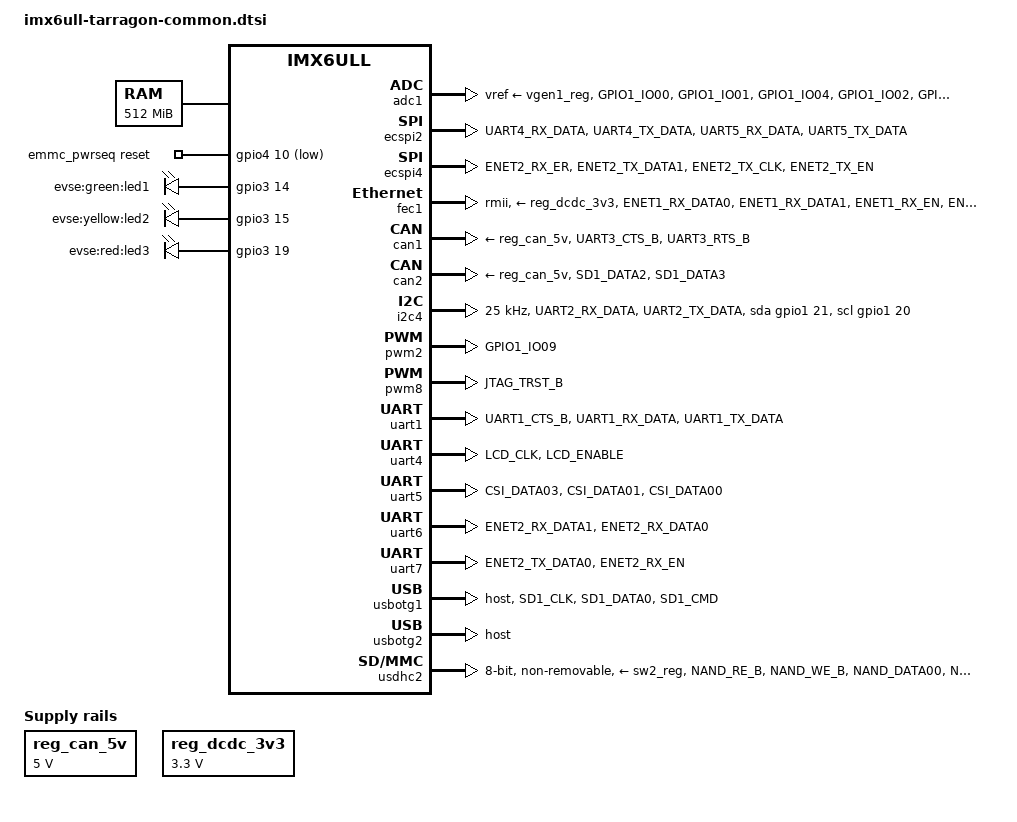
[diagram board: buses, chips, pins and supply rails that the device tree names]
/*
 * Copyright (C) 2018 I2SE GmbH
 * Copyright (C) 2020 in-tech smart charging GmbH
 *
 * This program is free software; you can redistribute it and/or modify
 * it under the terms of the GNU General Public License version 2 as
 * published by the Free Software Foundation.
 */

/dts-v1/;

#include <dt-bindings/input/input.h>
#include <dt-bindings/pwm/pwm.h>
#include "imx6ull.dtsi"

/ {
	aliases {
		mmc0 = &usdhc2;
	};

	chosen {
		stdout-path = &uart4;
	};

	memory@80000000 {
		device_type = "memory";
		reg = <0x80000000 0x20000000>;
	};

	reserved-memory {
		#address-cells = <1>;
		#size-cells = <1>;
		ranges;

		linux,cma {
			compatible = "shared-dma-pool";
			reusable;
			size = <0x14000000>;
			linux,cma-default;
		};
	};

	emmc_pwrseq: emmc-pwrseq {
		compatible = "mmc-pwrseq-emmc";
		pinctrl-0 = <&pinctrl_emmc_rst>;
		pinctrl-names = "default";
		reset-gpios = <&gpio4 10 GPIO_ACTIVE_LOW>;
	};

	reg_can_5v: regulator-can-5v {
		compatible = "regulator-fixed";
		regulator-name = "can-5v";
		regulator-min-microvolt = <5000000>;
		regulator-max-microvolt = <5000000>;
		regulator-boot-on;
		regulator-always-on;
	};

	reg_dcdc_3v3: regulator-dcdc-3v3 {
		compatible = "regulator-fixed";
		regulator-name = "dcdc-3v3";
		regulator-min-microvolt = <3300000>;
		regulator-max-microvolt = <3300000>;
		regulator-boot-on;
		regulator-always-on;
	};

	leds {
		compatible = "gpio-leds";
		pinctrl-names = "default";
		pinctrl-0 = <&pinctrl_status_leds>;

		led1 {
			label = "evse:green:led1";
			gpios = <&gpio3 14 GPIO_ACTIVE_HIGH>;
			linux,default-trigger = "timer";
		};

		led2 {
			label = "evse:yellow:led2";
			gpios = <&gpio3 15 GPIO_ACTIVE_HIGH>;
		};

		led3 {
			label = "evse:red:led3";
			gpios = <&gpio3 19 GPIO_ACTIVE_HIGH>;
			linux,default-trigger = "heartbeat";
		};
	};
};

&adc1 {
	pinctrl-names = "default";
	pinctrl-0 = <&pinctrl_adc_motor &pinctrl_adc_cp &pinctrl_adc_pp>;
	vref-supply = <&vgen1_reg>;
	num-channels = <6>;
};

&cpu0 {
	/*
	 * on i.MX6ULL, no seperated VDD_ARM_IN and VDD_SOC_IN,
	 * to align with other platform and use the same cpufreq
	 * driver, still use the seperated OPP define for arm
	 * and soc.
	 */
	operating-points = <
		/* kHz	uV */
		792000	1225000
		528000	1175000
		396000	1175000
		198000	1175000
	>;
	fsl,soc-operating-points = <
		/* KHz	uV */
		792000	1175000
		528000	1175000
		396000	1175000
		198000	1175000
	>;
	arm-supply = <&sw1_reg>;
	soc-supply = <&sw1_reg>;
	fsl,arm-soc-shared = <1>;
};

&ecspi2 {
	#address-cells = <1>;
	#size-cells = <0>;
	pinctrl-names = "default";
	pinctrl-0 = <&pinctrl_qca7000_cp_spi>;
	fsl,spi-num-chipselects = <1>;
	cs-gpios = <&gpio1 29 0>;
};

&ecspi4 {
	#address-cells = <1>;
	#size-cells = <0>;
	pinctrl-names = "default";
	pinctrl-0 = <&pinctrl_qca7000_mains_spi>;
	fsl,spi-num-chipselects = <1>;
	cs-gpios = <&gpio2 15 0>;
};

&fec1 {
	pinctrl-names = "default";
	pinctrl-0 = <&pinctrl_enet1 &pinctrl_enet1_phy_rst &pinctrl_enet_mdio>;
	phy-supply = <&reg_dcdc_3v3>;
	phy-mode = "rmii";
	phy-reset-gpios = <&gpio5 6 GPIO_ACTIVE_LOW>;
	phy-reset-duration = <25>;
};

&can1 {
	pinctrl-names = "default";
	pinctrl-0 = <&pinctrl_flexcan1>;
	xceiver-supply = <&reg_can_5v>;
};

&can2 {
	pinctrl-names = "default";
	pinctrl-0 = <&pinctrl_flexcan2>;
	xceiver-supply = <&reg_can_5v>;
};

&gpc {
	fsl,cpu_pupscr_sw2iso = <0x1>;
	fsl,cpu_pupscr_sw = <0x0>;
	fsl,cpu_pdnscr_iso2sw = <0x1>;
	fsl,cpu_pdnscr_iso = <0x1>;
	fsl,ldo-bypass = <0>;
};

&i2c4 {
	clock-frequency = <25000>;
	pinctrl-names = "default", "gpio";
	pinctrl-0 = <&pinctrl_i2c4>;
	pinctrl-1 = <&pinctrl_i2c4_gpio>;
	scl-gpios = <&gpio1 20 GPIO_ACTIVE_HIGH>;
	sda-gpios = <&gpio1 21 GPIO_ACTIVE_HIGH>;
	status = "okay";
};

&iomuxc {
	pinctrl-names = "default";
	pinctrl-0 = <&pinctrl_hog_pins &pinctrl_gpio_motor &pinctrl_board_var &pinctrl_push_pull_cfg
	             &pinctrl_rotary_switch1 &pinctrl_rotary_switch2>;

	tarragon {
		pinctrl_status_leds: pinctrl_status_ledsGrp {
			fsl,pins = <
				MX6UL_PAD_LCD_DATA09__GPIO3_IO14            0x17059
				MX6UL_PAD_LCD_DATA10__GPIO3_IO15            0x17059
				MX6UL_PAD_LCD_DATA14__GPIO3_IO19            0x17059
			>;
		};

		pinctrl_adc_motor: pinctrl_adc_motorGrp {
			fsl,pins = <
				MX6UL_PAD_GPIO1_IO00__GPIO1_IO00            0x000b0 /* ADC1_IN0  */
				MX6UL_PAD_GPIO1_IO01__GPIO1_IO01            0x000b0 /* ADC1_IN1  */
				MX6UL_PAD_GPIO1_IO04__GPIO1_IO04            0x000b0 /* ADC1_IN4  */
			>;
		};

		pinctrl_gpio_motor: pinctrl_gpio_motorGrp {
			fsl,pins = <
				MX6UL_PAD_LCD_DATA02__GPIO3_IO07            0x40017059
				MX6UL_PAD_LCD_DATA03__GPIO3_IO08            0x40017059
				MX6UL_PAD_LCD_DATA04__GPIO3_IO09            0x40017059
				// EN_MOTOR_CAP_CHARGING removed MX6UL_PAD_LCD_DATA06__GPIO3_IO11	0x40017059
				MX6UL_PAD_UART1_RTS_B__GPIO1_IO19           0x17059
				MX6UL_PAD_UART3_RX_DATA__GPIO1_IO25         0x17059
			>;
		};

		pinctrl_adc_cp: pinctrl_adc_cpGrp {
			fsl,pins = <
				MX6UL_PAD_GPIO1_IO02__GPIO1_IO02            0x000b0 /* ADC1_IN2  */
				MX6UL_PAD_GPIO1_IO03__GPIO1_IO03            0x000b0 /* ADC1_IN3  */
			>;
		};

		pinctrl_adc_pp: pinctrl_adc_ppGrp {
			fsl,pins = <
				MX6UL_PAD_GPIO1_IO05__GPIO1_IO05            0x000b0 /* ADC1_IN5  */
			>;
		};

		pinctrl_usb_pwr: pinctrl_usb_pwrGrp {
			fsl,pins = <
				MX6UL_PAD_SD1_CMD__USB_OTG1_PWR             0x10b0
			>;
		};

		pinctrl_usb: pinctrl_usbGrp {
			fsl,pins = <
				MX6UL_PAD_SD1_CLK__USB_OTG1_OC              0x17059
				MX6UL_PAD_SD1_DATA0__ANATOP_OTG1_ID         0x17059
			>;
		};

		pinctrl_enet_mdio: pinctrl_enet_mdioGrp {
			fsl,pins = <
				MX6UL_PAD_GPIO1_IO06__ENET1_MDIO            0x10b0
				MX6UL_PAD_GPIO1_IO07__ENET1_MDC             0x10b0
			>;
		};

		pinctrl_enet1_phy_int: pinctrl_enet1_phy_intGrp {
			fsl,pins = <
				MX6UL_PAD_ENET1_RX_ER__GPIO2_IO07           0x10b0
			>;
		};

		pinctrl_enet1: pinctrl_enet1Grp {
			fsl,pins = <
				MX6UL_PAD_ENET1_RX_DATA0__ENET1_RDATA00     0x1b0b0
				MX6UL_PAD_ENET1_RX_DATA1__ENET1_RDATA01     0x1b0b0
				MX6UL_PAD_ENET1_RX_EN__ENET1_RX_EN          0x1b0b0
				MX6UL_PAD_ENET1_TX_CLK__ENET1_REF_CLK1      0x4001b031
				MX6UL_PAD_ENET1_TX_DATA0__ENET1_TDATA00     0x1b0b0
				MX6UL_PAD_ENET1_TX_DATA1__ENET1_TDATA01     0x1b0b0
				MX6UL_PAD_ENET1_TX_EN__ENET1_TX_EN          0x1b0b0
			>;
		};

		pinctrl_pwm_dig_in_ref: pinctrl_pwm_dig_in_refGrp {
			fsl,pins = <
				MX6UL_PAD_GPIO1_IO09__PWM2_OUT              0x110b0
			>;
		};

		pinctrl_pwm_fan: pinctrl_pwm_fanGrp {
			fsl,pins = <
				MX6UL_PAD_JTAG_TCK__PWM7_OUT                0x110b0
			>;
		};

		pinctrl_pwm_cp: pinctrl_pwm_cpGrp {
			fsl,pins = <
				MX6UL_PAD_JTAG_TRST_B__PWM8_OUT             0x110b0
			>;
		};

		pinctrl_rs485_1: pinctrl_rs485_1Grp {
			fsl,pins = <
				MX6UL_PAD_UART1_CTS_B__GPIO1_IO18           0x10b0
				MX6UL_PAD_UART1_RX_DATA__UART1_DCE_RX       0x10b0
				MX6UL_PAD_UART1_TX_DATA__UART1_DCE_TX       0x10b0
			>;
		};

		pinctrl_rs485_2: pinctrl_rs485_2Grp {
			fsl,pins = <
				MX6UL_PAD_CSI_DATA03__GPIO4_IO24            0x10b0
				MX6UL_PAD_CSI_DATA01__UART5_DCE_RX          0x10b0
				MX6UL_PAD_CSI_DATA00__UART5_DCE_TX          0x10b0
			>;
		};

		pinctrl_stm32: pinctrl_stm32_Grp {
			fsl,pins = <
				MX6UL_PAD_ENET2_RX_DATA1__UART6_DCE_RX      0x10b0
				MX6UL_PAD_ENET2_RX_DATA0__UART6_DCE_TX      0x10b0
			>;
		};

		pinctrl_ext_uart: pinctrl_ext_uart_Grp {
			fsl,pins = <
				MX6UL_PAD_ENET2_TX_DATA0__UART7_DCE_RX      0x10b0
				MX6UL_PAD_ENET2_RX_EN__UART7_DCE_TX         0x10b0
			>;
		};

		pinctrl_flexcan1: pinctrl_flexcan1Grp {
			fsl,pins = <
				MX6UL_PAD_UART3_CTS_B__FLEXCAN1_TX          0x1b020
				MX6UL_PAD_UART3_RTS_B__FLEXCAN1_RX          0x1b020
			>;
		};

		pinctrl_flexcan2: pinctrl_flexcan2Grp {
			fsl,pins = <
				MX6UL_PAD_SD1_DATA2__FLEXCAN2_TX            0x1b020
				MX6UL_PAD_SD1_DATA3__FLEXCAN2_RX            0x1b020
			>;
		};

		pinctrl_i2c4: pinctrl_i2c4Grp {
			fsl,pins = <
				MX6UL_PAD_UART2_RX_DATA__I2C4_SDA           0x4001b8b0
				MX6UL_PAD_UART2_TX_DATA__I2C4_SCL           0x4001b8b0
			>;
		};

		pinctrl_i2c4_gpio: pinctrl_i2c4_gpioGrp {
			fsl,pins = <
				MX6UL_PAD_UART2_RX_DATA__GPIO1_IO21         0x4001b8b0
				MX6UL_PAD_UART2_TX_DATA__GPIO1_IO20         0x4001b8b0
			>;
		};

		pinctrl_qca7000_cp_spi: pinctrl_qca7000_cp_spiGrp {
			fsl,pins = <
				MX6UL_PAD_UART4_RX_DATA__GPIO1_IO29         0x10b0
				MX6UL_PAD_UART4_TX_DATA__ECSPI2_SCLK        0x10b0
				MX6UL_PAD_UART5_RX_DATA__ECSPI2_MISO        0x10b0
				MX6UL_PAD_UART5_TX_DATA__ECSPI2_MOSI        0x10b0
			>;
		};

		pinctrl_qca7000_cp_int: pinctrl_qca7000_cp_intGrp {
			fsl,pins = <
				MX6UL_PAD_SD1_DATA1__GPIO2_IO19             0x10b0
			>;
		};

		pinctrl_qca7000_cp_rst: pinctrl_qca7000_cp_rstGrp {
			fsl,pins = <
				MX6UL_PAD_LCD_DATA12__GPIO3_IO17            0x400010b0
			>;
		};

		pinctrl_qca7000_cp_btld: pinctrl_qca7000_cp_btldGrp {
			fsl,pins = <
				MX6UL_PAD_LCD_DATA13__GPIO3_IO18            0x400010b0
			>;
		};

		pinctrl_qca7000_mains_spi: pinctrl_qca7000_mains_spiGrp {
			fsl,pins = <
				MX6UL_PAD_ENET2_RX_ER__GPIO2_IO15           0x10b0
				MX6UL_PAD_ENET2_TX_DATA1__ECSPI4_SCLK       0x10b0
				MX6UL_PAD_ENET2_TX_CLK__ECSPI4_MISO         0x10b0
				MX6UL_PAD_ENET2_TX_EN__ECSPI4_MOSI          0x10b0
			>;
		};

		pinctrl_qca7000_mains_btld: pinctrl_qca7000_mains_btldGrp {
			fsl,pins = <
				MX6UL_PAD_LCD_DATA11__GPIO3_IO16            0x400010b0
			>;
		};

		pinctrl_uart4: pinctrl_uart4Grp {
			fsl,pins = <
				MX6UL_PAD_LCD_CLK__UART4_DTE_RX             0x1b0b1
				MX6UL_PAD_LCD_ENABLE__UART4_DTE_TX          0x1b0b1
			>;
		};

		pinctrl_dig_in: pinctrl_dig_inGrp {
			fsl,pins = <
				MX6UL_PAD_CSI_DATA04__GPIO4_IO25            0x0
				MX6UL_PAD_CSI_DATA05__GPIO4_IO26            0x0
				MX6UL_PAD_CSI_DATA07__GPIO4_IO28            0x0
				MX6UL_PAD_CSI_DATA06__GPIO4_IO27            0x0
				MX6UL_PAD_CSI_HSYNC__GPIO4_IO20             0x0
				MX6UL_PAD_CSI_DATA02__GPIO4_IO23            0x0
			>;
		};

		pinctrl_board_var: pinctrl_board_varGrp {
			fsl,pins = <
				MX6UL_PAD_NAND_CLE__GPIO4_IO15              0x0
				MX6UL_PAD_NAND_CE0_B__GPIO4_IO13            0x0
				MX6UL_PAD_NAND_CE1_B__GPIO4_IO14            0x0
				MX6UL_PAD_NAND_DQS__GPIO4_IO16              0x0
			>;
		};

		pinctrl_push_pull_cfg: pinctrl_push_pull_cfgGrp {
			fsl,pins = <
				MX6UL_PAD_LCD_DATA15__GPIO3_IO20            0x400000b0
				MX6UL_PAD_LCD_DATA16__GPIO3_IO21            0x400000b0
				MX6UL_PAD_LCD_DATA17__GPIO3_IO22            0x400000b0
				MX6UL_PAD_LCD_DATA18__GPIO3_IO23            0x400000b0
				MX6UL_PAD_LCD_DATA19__GPIO3_IO24            0x400000b0
				MX6UL_PAD_LCD_DATA20__GPIO3_IO25            0x400000b0
			>;
		};

		pinctrl_usdhc2_8bit: pinctrl_usdhc2_8bitGrp {
			fsl,pins = <
				MX6UL_PAD_NAND_RE_B__USDHC2_CLK             0x10069
				MX6UL_PAD_NAND_WE_B__USDHC2_CMD             0x17059
				MX6UL_PAD_NAND_DATA00__USDHC2_DATA0         0x17059
				MX6UL_PAD_NAND_DATA01__USDHC2_DATA1         0x17059
				MX6UL_PAD_NAND_DATA02__USDHC2_DATA2         0x17059
				MX6UL_PAD_NAND_DATA03__USDHC2_DATA3         0x17059
				MX6UL_PAD_NAND_DATA04__USDHC2_DATA4         0x17059
				MX6UL_PAD_NAND_DATA05__USDHC2_DATA5         0x17059
				MX6UL_PAD_NAND_DATA06__USDHC2_DATA6         0x17059
				MX6UL_PAD_NAND_DATA07__USDHC2_DATA7         0x17059
			>;
		};

		pinctrl_usdhc2_8bit_100MHz: pinctrl_usdhc2_8bit_100MHz_Grp {
			fsl,pins = <
				MX6UL_PAD_NAND_RE_B__USDHC2_CLK             0x100b9
				MX6UL_PAD_NAND_WE_B__USDHC2_CMD             0x170b9
				MX6UL_PAD_NAND_DATA00__USDHC2_DATA0         0x170b9
				MX6UL_PAD_NAND_DATA01__USDHC2_DATA1         0x170b9
				MX6UL_PAD_NAND_DATA02__USDHC2_DATA2         0x170b9
				MX6UL_PAD_NAND_DATA03__USDHC2_DATA3         0x170b9
				MX6UL_PAD_NAND_DATA04__USDHC2_DATA4         0x170b9
				MX6UL_PAD_NAND_DATA05__USDHC2_DATA5         0x170b9
				MX6UL_PAD_NAND_DATA06__USDHC2_DATA6         0x170b9
				MX6UL_PAD_NAND_DATA07__USDHC2_DATA7         0x170b9
			>;
		};

		pinctrl_usdhc2_8bit_200MHz: pinctrl_usdhc2_8bit_200MHz_Grp {
			fsl,pins = <
				MX6UL_PAD_NAND_RE_B__USDHC2_CLK             0x100f9
				MX6UL_PAD_NAND_WE_B__USDHC2_CMD             0x170f9
				MX6UL_PAD_NAND_DATA00__USDHC2_DATA0         0x170f9
				MX6UL_PAD_NAND_DATA01__USDHC2_DATA1         0x170f9
				MX6UL_PAD_NAND_DATA02__USDHC2_DATA2         0x170f9
				MX6UL_PAD_NAND_DATA03__USDHC2_DATA3         0x170f9
				MX6UL_PAD_NAND_DATA04__USDHC2_DATA4         0x170f9
				MX6UL_PAD_NAND_DATA05__USDHC2_DATA5         0x170f9
				MX6UL_PAD_NAND_DATA06__USDHC2_DATA6         0x170f9
				MX6UL_PAD_NAND_DATA07__USDHC2_DATA7         0x170f9
			>;
		};

		pinctrl_emmc_rst: pinctrl_emmc_rstGrp {
			fsl,pins = <
				MX6UL_PAD_NAND_ALE__GPIO4_IO10              0x400000b0
			>;
		};

		pinctrl_rotary_switch1: pinctrl_rotary_switch1Grp {
			fsl,pins = <
				/* rotary switch 1 - bit 1-3: 100k pull-up */
				MX6UL_PAD_UART2_CTS_B__GPIO1_IO22           0xb0b0
				MX6UL_PAD_UART2_RTS_B__GPIO1_IO23           0xb0b0
				MX6UL_PAD_UART3_TX_DATA__GPIO1_IO24         0xb0b0
			>;
		};

		pinctrl_rotary_switch2: pinctrl_rotary_switch2Grp {
			fsl,pins = <
				/* rotary switch 2 - bit 0-3: 100k pull-up */
				MX6UL_PAD_CSI_PIXCLK__GPIO4_IO18            0xb0b0
				MX6UL_PAD_LCD_DATA23__GPIO3_IO28            0xb0b0
				MX6UL_PAD_LCD_DATA22__GPIO3_IO27            0xb0b0
				MX6UL_PAD_LCD_DATA21__GPIO3_IO26            0xb0b0
			>;
		};

		pinctrl_wdog2: wdogGrp {
			fsl,pins = <
				/* WDOG_B output on > V0R4: reset defaults (keeper enabled) */
				MX6UL_PAD_LCD_VSYNC__WDOG2_WDOG_B           0x000010b0
			>;
		};

		pinctrl_hog_pins: pinctrl_hog_pinsGrp {
			fsl,pins = <
				MX6UL_PAD_GPIO1_IO08__USDHC2_VSELECT        0x17059 /* to PF3001 */
				MX6UL_PAD_CSI_VSYNC__GPIO4_IO19             0x17059 /* AUD_INT from PF3001 */

				MX6UL_PAD_LCD_DATA01__GPIO3_IO06            0x0 // EXT_GPIO

				/* relay 1/2 control */
				MX6UL_PAD_LCD_DATA07__GPIO3_IO12            0x400010b0
				MX6UL_PAD_LCD_DATA08__GPIO3_IO13            0x400010b0

				/* CP invert: 47k pull-up (reset default) */
				MX6UL_PAD_JTAG_TDI__GPIO1_IO13              0x400070a0

				/* fan enable */
				MX6UL_PAD_LCD_DATA00__GPIO3_IO05            0x40017059

				/* Co processor BOOT0 */
				MX6UL_PAD_LCD_DATA05__GPIO3_IO10            0x40017059

				/* Co processor RESET */
				MX6UL_PAD_LCD_DATA06__GPIO3_IO11            0x40017059
			>;
		};
	};
};

&iomuxc_snvs {
	pinctrl-names = "default_snvs";
	pinctrl-0 = <&init_GPIO_pinsSnvs
	             &pinctrl_gpio_motorSnvs
	             &pinctrl_qca7000_mains_rst
	             &pinctrl_rotary_switch1_snvs
	             &pinctrl_fan_senseSnvs
	             &pinctrl_accelero_int1Snvs
	             &pinctrl_relay_senseSnvs>;

	tarragon {
		init_GPIO_pinsSnvs: init_GPIO_pinsSnvsGrp {
			fsl,pins = <
				MX6ULL_PAD_BOOT_MODE0__GPIO5_IO10           0x000130A0
				MX6ULL_PAD_BOOT_MODE1__GPIO5_IO11           0x000130A0
			>;
		};

		pinctrl_gpio_motorSnvs: pinctrl_gpio_motorSnvsGrp {
			fsl,pins = <
				MX6ULL_PAD_SNVS_TAMPER8__GPIO5_IO08         0x000110A0
				>;
		};

		pinctrl_enet1_phy_rst: pinctrl_enet1_phy_rstGrp {
			fsl,pins = <
				MX6ULL_PAD_SNVS_TAMPER6__GPIO5_IO06         0x000110A0
			>;
		};

		pinctrl_qca7000_mains_rst: pinctrl_qca7000_mains_rstGrp {
			fsl,pins = <
				MX6ULL_PAD_SNVS_TAMPER7__GPIO5_IO07         0x400010b0
			>;
		};

		pinctrl_qca7000_mains_int: pinctrl_qca7000_mains_intGrp {
			fsl,pins = <
				MX6ULL_PAD_SNVS_TAMPER9__GPIO5_IO09         0x10b0
			>;
		};

		pinctrl_mains_present_Snvs: pinctrl_mains_present_SnvsGrp {
			fsl,pins = <
				MX6ULL_PAD_SNVS_TAMPER4__GPIO5_IO04         0x0
			>;
		};

		pinctrl_fan_senseSnvs: pinctrl_fan_senseSnvsGrp {
			fsl,pins = <
			MX6ULL_PAD_SNVS_TAMPER1__GPIO5_IO01             0x0
			>;
		};

		pinctrl_accelero_int1Snvs: pinctrl_accelero_int1SnvsGrp {
			fsl,pins = <
				MX6ULL_PAD_SNVS_TAMPER5__GPIO5_IO05         0x10b0
			>;
		};

		pinctrl_relay_senseSnvs: pinctrl_relay_senseSnvsGrp {
			fsl,pins = <
				/* relay 1/2 feedback: disable keeper */
				MX6ULL_PAD_SNVS_TAMPER3__GPIO5_IO03         0x00b0
				MX6ULL_PAD_SNVS_TAMPER2__GPIO5_IO02         0x00b0
			>;
		};

		pinctrl_rotary_switch1_snvs: pinctrl_rotary_switch1SnvsGrp {
			fsl,pins = <
				/* rotary switch - bit 0: 100k pull-up */
				MX6ULL_PAD_SNVS_TAMPER0__GPIO5_IO00         0xb0b0
			>;
		};
	};
};

&pwm2 {
	pinctrl-names = "default";
	pinctrl-0 = <&pinctrl_pwm_dig_in_ref>;
};

&pwm7 {
	#pwm-cells = <3>;
};

&pwm8 {
	pinctrl-names = "default";
	pinctrl-0 = <&pinctrl_pwm_cp>;
};

&uart1 {
	pinctrl-names = "default";
	pinctrl-0 = <&pinctrl_rs485_1>;
};

&uart4 {
	pinctrl-names = "default";
	pinctrl-0 = <&pinctrl_uart4>;
	fsl,dte-mode;
	status = "okay";
};

&uart5 {
	pinctrl-names = "default";
	pinctrl-0 = <&pinctrl_rs485_2>;
};

&uart6 {
	pinctrl-names = "default";
	pinctrl-0 = <&pinctrl_stm32>;
};

&uart7 {
	pinctrl-names = "default";
	pinctrl-0 = <&pinctrl_ext_uart>;
	status = "okay";
};

&usbotg1 {
	pinctrl-names = "default";
	pinctrl-0 = <&pinctrl_usb &pinctrl_usb_pwr>;
	dr_mode = "host";
	power-active-high;
	disable-over-current;
};

&usbotg2 {
	dr_mode = "host";
	disable-over-current;
};

&usbphy1 {
	fsl,tx-cal-45-dn-ohms = <30>;
	fsl,tx-cal-45-dp-ohms = <30>;
	tx-d-cal = <0x7>;
};

&usbphy2 {
	fsl,tx-cal-45-dn-ohms = <30>;
	fsl,tx-cal-45-dp-ohms = <30>;
	tx-d-cal = <0x7>;
};

&usdhc2 {
	pinctrl-names = "default", "state_100mhz", "state_200mhz";
	pinctrl-0 = <&pinctrl_usdhc2_8bit>;
	pinctrl-1 = <&pinctrl_usdhc2_8bit_100MHz>;
	pinctrl-2 = <&pinctrl_usdhc2_8bit_200MHz>;
	vmmc-supply = <&sw2_reg>;
	mmc-pwrseq = <&emmc_pwrseq>;
	bus-width = <8>;
	broken-cd;
	non-removable;
	only-1-8-v;
	status = "okay";
};

&wdog2 {
	pinctrl-names = "default";
	pinctrl-0 = <&pinctrl_wdog2>;
	fsl,ext-reset-output;
};
